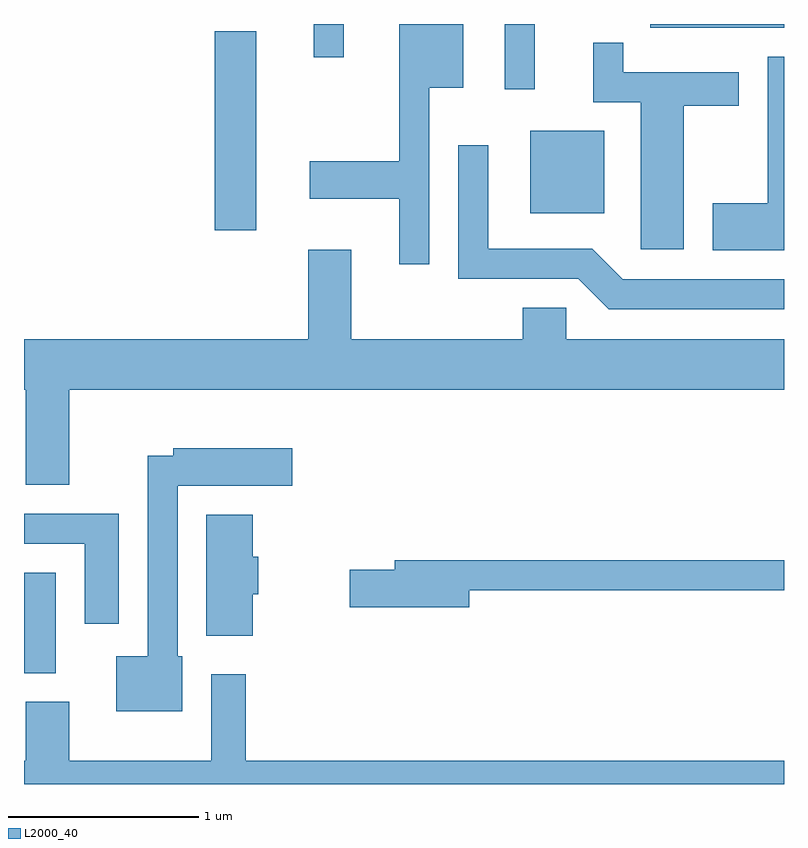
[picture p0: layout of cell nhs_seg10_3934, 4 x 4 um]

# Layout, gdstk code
import gdstk
lib = gdstk.Library(unit=1e-6, precision=1e-09)
def R(c, l, rs):  # rectangles x0, y0, x1, y1
    for r in rs: c.add(gdstk.rectangle(r[:2], r[2:], *l))
def P(c, l, *ps):  # polygons
    for p in ps: c.add(gdstk.Polygon(p, *l))
L2000_40 = (2000, 40)

nhs_seg10_3934 = lib.new_cell('nhs_seg10_3934')
R(nhs_seg10_3934, L2000_40, [(301.611,2099.106,301.779,2099.634), (302.616,2101.436,302.834,2102.484), (304.276,2101.526,304.664,2101.959), (304.141,2102.178,304.299,2102.522), (303.136,2102.348,303.294,2102.522), (304.908,2102.501,305.611,2102.522)])
P(nhs_seg10_3934, L2000_40, [(303.744,2102.186),(303.924,2102.186),(303.924,2102.522),(303.586,2102.522),(303.586,2101.799),(303.116,2101.799),(303.116,2101.601),(303.586,2101.601),(303.586,2101.258),(303.744,2101.258)],
  [(305.084,2102.091),(305.374,2102.091),(305.374,2102.269),(304.764,2102.269),(304.764,2102.423),(304.606,2102.423),(304.606,2102.111),(304.856,2102.111),(304.856,2101.336),(305.084,2101.336)],
  [(305.611,2102.349),(305.526,2102.349),(305.526,2101.579),(305.236,2101.579),(305.236,2101.331),(305.611,2101.331)],
  [(305.611,2101.179),(304.762,2101.179),(304.602,2101.339),(304.054,2101.339),(304.054,2101.883),(303.896,2101.883),(303.896,2101.181),(304.529,2101.181),(304.689,2101.021),(305.611,2101.021)],
  [(301.849,2100.596),(305.611,2100.596),(305.611,2100.864),(304.464,2100.864),(304.464,2101.029),(304.236,2101.029),(304.236,2100.864),(303.334,2100.864),(303.334,2101.334),(303.106,2101.334),(303.106,2100.864),(301.611,2100.864),(301.611,2100.596),(301.621,2100.596),(301.621,2100.096),(301.849,2100.096)],
  [(302.444,2099.194),(302.419,2099.194),(302.419,2100.091),(303.024,2100.091),(303.024,2100.289),(302.396,2100.289),(302.396,2100.249),(302.261,2100.249),(302.261,2099.194),(302.096,2099.194),(302.096,2098.906),(302.444,2098.906)],
  [(302.109,2099.944),(301.611,2099.944),(301.611,2099.786),(301.931,2099.786),(301.931,2099.366),(302.109,2099.366)],
  [(302.814,2099.521),(302.844,2099.521),(302.844,2099.719),(302.814,2099.719),(302.814,2099.939),(302.571,2099.939),(302.571,2099.301),(302.814,2099.301)],
  [(303.954,2099.541),(305.611,2099.541),(305.611,2099.699),(303.561,2099.699),(303.561,2099.649),(303.326,2099.649),(303.326,2099.451),(303.954,2099.451)],
  [(305.611,2098.644),(302.779,2098.644),(302.779,2099.099),(302.596,2099.099),(302.596,2098.644),(301.849,2098.644),(301.849,2098.954),(301.621,2098.954),(301.621,2098.644),(301.611,2098.644),(301.611,2098.522),(305.611,2098.522)])

lib.write_gds('nhs_seg10_3934.gds')
